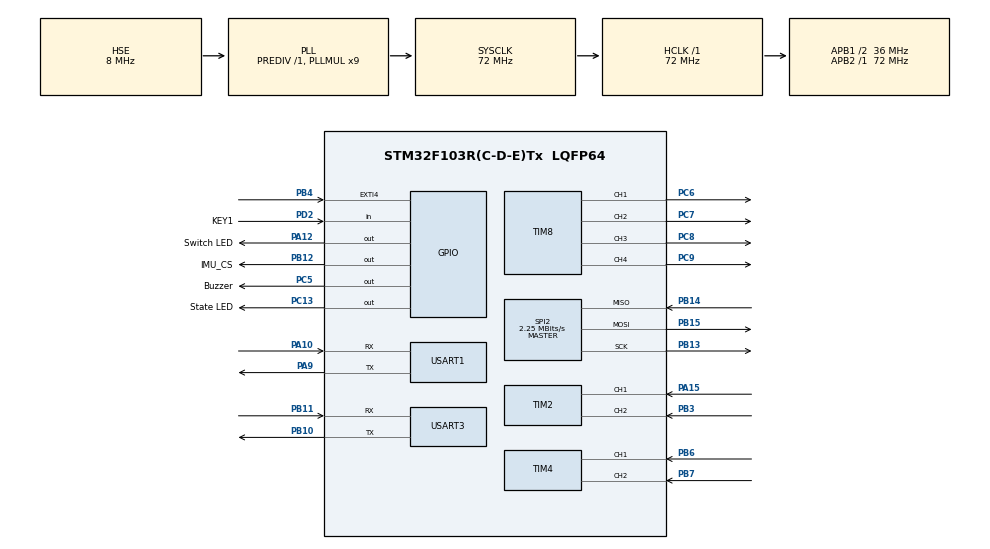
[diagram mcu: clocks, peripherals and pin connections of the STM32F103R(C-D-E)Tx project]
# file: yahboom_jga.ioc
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Dma.Request0=USART1_TX
Dma.USART1_TX.0.Direction=DMA_MEMORY_TO_PERIPH
Dma.USART1_TX.0.Instance=DMA1_Channel4
Dma.USART1_TX.0.MemDataAlignment=DMA_MDATAALIGN_BYTE
Dma.USART1_TX.0.MemInc=DMA_MINC_ENABLE
Dma.USART1_TX.0.Mode=DMA_NORMAL
Dma.USART1_TX.0.PeriphDataAlignment=DMA_PDATAALIGN_BYTE
Dma.USART1_TX.0.PeriphInc=DMA_PINC_DISABLE
Dma.USART1_TX.0.Priority=DMA_PRIORITY_LOW
Mcu.Family=STM32F1
Mcu.Name=STM32F103R(C-D-E)Tx
Mcu.Package=LQFP64
NVIC.DMA1_Channel4_IRQn=true\:0\:0\:false\:false\:true\:false\:true\:true
NVIC.PriorityGroup=NVIC_PRIORITYGROUP_4
NVIC.USART1_IRQn=true\:0\:0\:false\:false\:true\:false\:true\:true
PA10.Mode=Asynchronous
PA10.Signal=USART1_RX
PA12.GPIO_Label=Switch LED
PA12.Signal=GPIO_Output
PA13.Mode=Serial_Wire
PA13.Signal=SYS_JTMS-SWDIO
PA14.Mode=Serial_Wire
PA14.Signal=SYS_JTCK-SWCLK
PA15.Signal=S_TIM2_CH1_ETR
PA9.Mode=Asynchronous
PA9.Signal=USART1_TX
PB10.Mode=Asynchronous
PB10.Signal=USART3_TX
PB11.Mode=Asynchronous
PB11.Signal=USART3_RX
PB12.GPIO_Label=IMU_CS
PB12.Signal=GPIO_Output
PB13.Mode=Full_Duplex_Master
PB13.Signal=SPI2_SCK
PB14.Mode=Full_Duplex_Master
PB14.Signal=SPI2_MISO
PB15.Mode=Full_Duplex_Master
PB15.Signal=SPI2_MOSI
PB3.Signal=S_TIM2_CH2
PB4.Signal=GPXTI4
PB6.Signal=S_TIM4_CH1
PB7.Signal=S_TIM4_CH2
PC13-TAMPER-RTC.GPIO_Label=State LED
PC13-TAMPER-RTC.Signal=GPIO_Output
PC5.GPIO_Label=Buzzer
PC5.Signal=GPIO_Output
PC6.Signal=S_TIM8_CH1
PC7.Signal=S_TIM8_CH2
PC8.Signal=S_TIM8_CH3
PC9.Signal=S_TIM8_CH4
PD0-OSC_IN.Mode=HSE-External-Oscillator
PD0-OSC_IN.Signal=RCC_OSC_IN
PD1-OSC_OUT.Mode=HSE-External-Oscillator
PD1-OSC_OUT.Signal=RCC_OSC_OUT
PD2.GPIO_Label=KEY1
PD2.Signal=GPIO_Input
ProjectManager.HeapSize=0x200
ProjectManager.StackSize=0x400
ProjectManager.TargetToolchain=STM32CubeIDE
RCC.AHBFreq_Value=72000000
RCC.APB1CLKDivider=RCC_HCLK_DIV2
RCC.APB1Freq_Value=36000000
RCC.APB1TimFreq_Value=72000000
RCC.APB2Freq_Value=72000000
RCC.APB2TimFreq_Value=72000000
RCC.HCLKFreq_Value=72000000
RCC.PLLMUL=RCC_PLL_MUL9
RCC.PLLSourceVirtual=RCC_PLLSOURCE_HSE
RCC.SYSCLKFreq_VALUE=72000000
RCC.SYSCLKSource=RCC_SYSCLKSOURCE_PLLCLK
RCC.USBFreq_Value=72000000
SH.S_TIM2_CH1_ETR.0=TIM2_CH1,Encoder_Interface
SH.S_TIM2_CH2.0=TIM2_CH2,Encoder_Interface
SH.S_TIM4_CH1.0=TIM4_CH1,Encoder_Interface
SH.S_TIM4_CH2.0=TIM4_CH2,Encoder_Interface
SH.S_TIM8_CH1.0=TIM8_CH1,PWM Generation1 CH1
SH.S_TIM8_CH2.0=TIM8_CH2,PWM Generation2 CH2
SH.S_TIM8_CH3.0=TIM8_CH3,PWM Generation3 CH3
SH.S_TIM8_CH4.0=TIM8_CH4,PWM Generation4 CH4
SPI2.BaudRatePrescaler=SPI_BAUDRATEPRESCALER_16
SPI2.CLKPhase=SPI_PHASE_2EDGE
SPI2.CLKPolarity=SPI_POLARITY_HIGH
SPI2.CalculateBaudRate=2.25 MBits/s
SPI2.Direction=SPI_DIRECTION_2LINES
SPI2.Mode=SPI_MODE_MASTER
SPI2.VirtualType=VM_MASTER
TIM8.Channel-PWM\ Generation1\ CH1=TIM_CHANNEL_1
TIM8.Channel-PWM\ Generation2\ CH2=TIM_CHANNEL_2
TIM8.Channel-PWM\ Generation3\ CH3=TIM_CHANNEL_3
TIM8.Channel-PWM\ Generation4\ CH4=TIM_CHANNEL_4
USART1.VirtualMode=VM_ASYNC
USART3.VirtualMode=VM_ASYNC
VP_TIM8_VS_ClockSourceINT.Mode=Internal
board=custom

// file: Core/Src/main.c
/* USER CODE BEGIN Header */
/**
  ******************************************************************************
  * @file           : main.c
  * @brief          : Main program body
  ******************************************************************************
  * @attention
  *
  * Copyright (c) 2026 STMicroelectronics.
  * All rights reserved.
  *
  * This software is licensed under terms that can be found in the LICENSE file
  * in the root directory of this software component.
  * If no LICENSE file comes with this software, it is provided AS-IS.
  *
  ******************************************************************************
  */
/* USER CODE END Header */
#include "main.h"
#include "dma.h"
#include "spi.h"
#include "tim.h"
#include "usart.h"
#include "gpio.h"

/* USER CODE BEGIN Includes */
#include "motor.h"
#include "encoder.h"
#include "icm20948.h"
#include "robot_fsm.h"
#include <stdio.h>
/* USER CODE END Includes */

/* USER CODE BEGIN PV */
uint8_t rx_data = 0;
uint8_t imu_ok = 0;
/* USER CODE END PV */

void SystemClock_Config(void);

int main(void)
{

  /* MCU Configuration--------------------------------------------------------*/

  /* Reset of all peripherals, Initializes the Flash interface and the Systick. */
  HAL_Init();

  /* Configure the system clock */
  SystemClock_Config();

  /* Initialize all configured peripherals */
  MX_GPIO_Init();
  MX_DMA_Init();
  MX_TIM2_Init();
  MX_TIM4_Init();
  MX_TIM8_Init();
  MX_USART1_UART_Init();
  MX_USART3_UART_Init();
  MX_SPI2_Init();
  /* USER CODE BEGIN 2 */
  Motor_Init();
  Encoder_Init();
  Robot_FSM_Init();
  printf("Initializing IMU...\r\n");
  if (ICM20948_Init())
  {
    imu_ok = 1;
    printf("IMU initialization success!\r\n");
  }
  else
  {
    imu_ok = 0;
    printf("IMU initialization failed!\r\n");
  }
  current_state = STATE_READY;
  Robot_FSM_FeedWatchdog();
  printf("System initialized. Teleop ready!\r\n");
  HAL_UART_Receive_IT(&huart1, &rx_data, 1);
  /* USER CODE END 2 */

  /* Infinite loop */
  /* USER CODE BEGIN WHILE */
  uint32_t last_print_tick = 0;
  while (1)
  {
    uint32_t current_time = HAL_GetTick();

    /* FSM State Machine Handler */
    Robot_FSM_Update();

    /* Read and print encoder cumulative ticks every 200ms */
    if (current_time - last_print_tick >= 200)
    {
      // Reading delta updates internal total ticks
      Encoder_Get_Delta(ENCODER_LEFT);
      Encoder_Get_Delta(ENCODER_RIGHT);

      int32_t gyro_z_scaled = (int32_t)(ICM20948_Get_GyroZ_rads() * 10000.0f);
      printf("Encoder L: %ld | R: %ld | GyroZ: %ld | IMU: %d | ST: %d\r\n",
             Encoder_Get_Total(ENCODER_LEFT),
             Encoder_Get_Total(ENCODER_RIGHT),
             gyro_z_scaled,
             imu_ok,
             current_state);

      last_print_tick = current_time;
    }
    /* USER CODE END WHILE */

  }
}

void SystemClock_Config(void)
{
  RCC_OscInitTypeDef RCC_OscInitStruct = {0};
  RCC_ClkInitTypeDef RCC_ClkInitStruct = {0};

  /** Initializes the RCC Oscillators according to the specified parameters
  * in the RCC_OscInitTypeDef structure.
  */
  RCC_OscInitStruct.OscillatorType = RCC_OSCILLATORTYPE_HSE;
  RCC_OscInitStruct.HSEState = RCC_HSE_ON;
  RCC_OscInitStruct.HSEPredivValue = RCC_HSE_PREDIV_DIV1;
  RCC_OscInitStruct.HSIState = RCC_HSI_ON;
  RCC_OscInitStruct.PLL.PLLState = RCC_PLL_ON;
  RCC_OscInitStruct.PLL.PLLSource = RCC_PLLSOURCE_HSE;
  RCC_OscInitStruct.PLL.PLLMUL = RCC_PLL_MUL9;
  if (HAL_RCC_OscConfig(&RCC_OscInitStruct) != HAL_OK)
  {
    Error_Handler();
  }

  /** Initializes the CPU, AHB and APB buses clocks
  */
  RCC_ClkInitStruct.ClockType = RCC_CLOCKTYPE_HCLK|RCC_CLOCKTYPE_SYSCLK
                              |RCC_CLOCKTYPE_PCLK1|RCC_CLOCKTYPE_PCLK2;
  RCC_ClkInitStruct.SYSCLKSource = RCC_SYSCLKSOURCE_PLLCLK;
  RCC_ClkInitStruct.AHBCLKDivider = RCC_SYSCLK_DIV1;
  RCC_ClkInitStruct.APB1CLKDivider = RCC_HCLK_DIV2;
  RCC_ClkInitStruct.APB2CLKDivider = RCC_HCLK_DIV1;

  if (HAL_RCC_ClockConfig(&RCC_ClkInitStruct, FLASH_LATENCY_2) != HAL_OK)
  {
    Error_Handler();
  }
}

/* USER CODE BEGIN 4 */
#ifdef __GNUC__
#define PUTCHAR_PROTOTYPE int __io_putchar(int ch)
#else
#define PUTCHAR_PROTOTYPE int fputc(int ch, FILE *f)
#endif

PUTCHAR_PROTOTYPE
{
  HAL_UART_Transmit(&huart1, (uint8_t *)&ch, 1, HAL_MAX_DELAY);
  return ch;
}

#define RX_BUFFER_SIZE  32
uint8_t rx_buffer[RX_BUFFER_SIZE];
uint8_t rx_index = 0;

void HAL_UART_RxCpltCallback(UART_HandleTypeDef *huart)
{
  if (huart->Instance == USART1)
  {
    // If newline or carriage return is received, parse the command
    if (rx_data == '\n' || rx_data == '\r')
    {
      if (rx_index > 0)
      {
        rx_buffer[rx_index] = '\0'; // Null-terminate string

        char cmd;
        int speed = 0;
        // Parse packet, e.g. "F 400" or "S"
        if (sscanf((char*)rx_buffer, "%c %d", &cmd, &speed) >= 1)
        {
          Robot_FSM_Handle_Command(cmd, speed);
        }
        rx_index = 0; // Reset index
      }
    }
    else
    {
      if (rx_index < RX_BUFFER_SIZE - 1)
      {
        rx_buffer[rx_index++] = rx_data;
      }
      else
      {
        rx_index = 0; // Buffer full, reset to prevent overflow
      }
    }

    // Re-enable UART Rx interrupt
    HAL_UART_Receive_IT(&huart1, &rx_data, 1);
  }
}
/* USER CODE END 4 */

void Error_Handler(void)
{
  __disable_irq();
  while (1)
  {
  }
}
